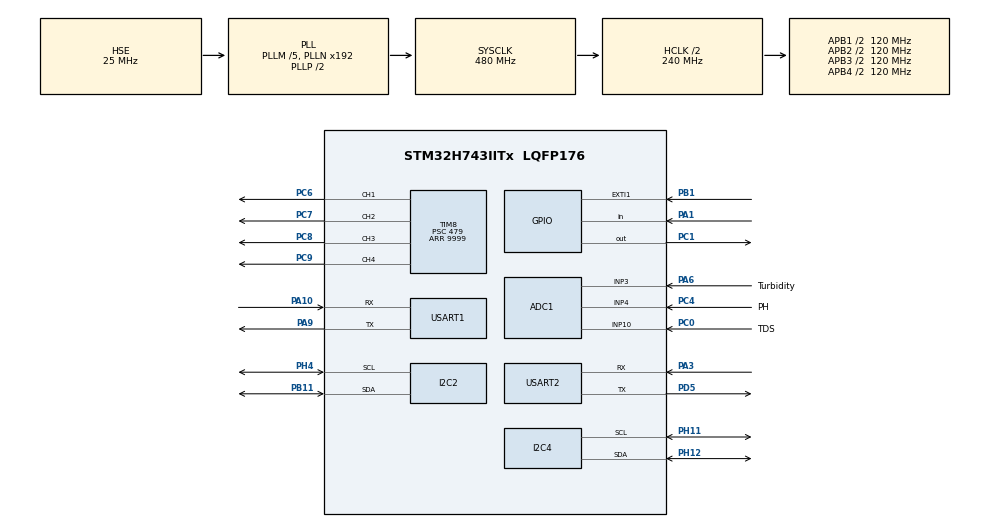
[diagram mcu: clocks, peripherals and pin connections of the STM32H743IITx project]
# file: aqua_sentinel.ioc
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ADC1.Channel-4\#ChannelRegularConversion=ADC_CHANNEL_3
ADC1.Channel-5\#ChannelRegularConversion=ADC_CHANNEL_4
ADC1.Channel-6\#ChannelRegularConversion=ADC_CHANNEL_10
ADC1.ContinuousConvMode=ENABLE
ADC1.ConversionDataManagement=ADC_CONVERSIONDATA_DMA_CIRCULAR
ADC1.NbrOfConversion=3
ADC1.NbrOfConversionFlag=1
ADC1.OffsetNumber-4\#ChannelRegularConversion=ADC_OFFSET_NONE
ADC1.OffsetNumber-5\#ChannelRegularConversion=ADC_OFFSET_NONE
ADC1.OffsetNumber-6\#ChannelRegularConversion=ADC_OFFSET_NONE
ADC1.OffsetSignedSaturation-4\#ChannelRegularConversion=DISABLE
ADC1.OffsetSignedSaturation-5\#ChannelRegularConversion=DISABLE
ADC1.OffsetSignedSaturation-6\#ChannelRegularConversion=DISABLE
ADC1.Rank-4\#ChannelRegularConversion=1
ADC1.Rank-5\#ChannelRegularConversion=2
ADC1.Rank-6\#ChannelRegularConversion=3
ADC1.SamplingTime-4\#ChannelRegularConversion=ADC_SAMPLETIME_810CYCLES_5
ADC1.SamplingTime-5\#ChannelRegularConversion=ADC_SAMPLETIME_810CYCLES_5
ADC1.SamplingTime-6\#ChannelRegularConversion=ADC_SAMPLETIME_810CYCLES_5
ADC1.master=1
CORTEX_M7.default_mode_Activation=1
Dma.ADC1.0.Direction=DMA_PERIPH_TO_MEMORY
Dma.ADC1.0.EventEnable=DISABLE
Dma.ADC1.0.FIFOMode=DMA_FIFOMODE_DISABLE
Dma.ADC1.0.Instance=DMA1_Stream0
Dma.ADC1.0.MemDataAlignment=DMA_MDATAALIGN_HALFWORD
Dma.ADC1.0.MemInc=DMA_MINC_ENABLE
Dma.ADC1.0.Mode=DMA_CIRCULAR
Dma.ADC1.0.PeriphDataAlignment=DMA_PDATAALIGN_HALFWORD
Dma.ADC1.0.PeriphInc=DMA_PINC_DISABLE
Dma.ADC1.0.Polarity=HAL_DMAMUX_REQ_GEN_RISING
Dma.ADC1.0.Priority=DMA_PRIORITY_LOW
Dma.ADC1.0.RequestNumber=1
Dma.ADC1.0.SignalID=NONE
Dma.ADC1.0.SyncEnable=DISABLE
Dma.ADC1.0.SyncPolarity=HAL_DMAMUX_SYNC_NO_EVENT
Dma.ADC1.0.SyncRequestNumber=1
Dma.ADC1.0.SyncSignalID=NONE
Dma.Request0=ADC1
FREERTOS.Mutexes01=mutex_printf,Dynamic,NULL,Available
FREERTOS.Tasks01=MQTT,24,1024,Start_MQTT,Default,NULL,Dynamic,NULL,NULL;ReadSensorData,8,1024,TaskReadSensorData,Default,NULL,Dynamic,NULL,NULL
FREERTOS.configTOTAL_HEAP_SIZE=131072
I2C2.Timing=0x307075B1
I2C4.Timing=0x307075B1
Mcu.Family=STM32H7
Mcu.Name=STM32H743IITx
Mcu.Package=LQFP176
NVIC.DMA1_Stream0_IRQn=true\:5\:0\:false\:false\:true\:true\:false\:true\:true
NVIC.PriorityGroup=NVIC_PRIORITYGROUP_4
NVIC.TIM7_IRQn=true\:15\:0\:false\:false\:true\:false\:false\:true\:true
NVIC.TimeBase=TIM7_IRQn
NVIC.TimeBaseIP=TIM7
NVIC.USART2_IRQn=true\:5\:0\:false\:false\:true\:true\:true\:true\:true
PA1.Signal=GPIO_Input
PA10.Mode=Asynchronous
PA10.Signal=USART1_RX
PA13\ (JTMS/SWDIO).Mode=Serial_Wire
PA13\ (JTMS/SWDIO).Signal=DEBUG_JTMS-SWDIO
PA14\ (JTCK/SWCLK).Mode=Serial_Wire
PA14\ (JTCK/SWCLK).Signal=DEBUG_JTCK-SWCLK
PA3.Mode=Asynchronous
PA3.Signal=USART2_RX
PA6.GPIO_Label=Turbidity
PA6.Signal=ADCx_INP3
PA9.Mode=Asynchronous
PA9.Signal=USART1_TX
PB1.Signal=GPXTI1
PB11.Mode=I2C
PB11.Signal=I2C2_SDA
PB2.Signal=QUADSPI_CLK
PB6.Signal=QUADSPI_BK1_NCS
PC0.GPIO_Label=TDS
PC0.Signal=ADCx_INP10
PC1.Signal=GPIO_Output
PC14-OSC32_IN\ (OSC32_IN).Mode=LSE-External-Oscillator
PC14-OSC32_IN\ (OSC32_IN).Signal=RCC_OSC32_IN
PC15-OSC32_OUT\ (OSC32_OUT).Mode=LSE-External-Oscillator
PC15-OSC32_OUT\ (OSC32_OUT).Signal=RCC_OSC32_OUT
PC4.GPIO_Label=PH
PC4.Signal=ADCx_INP4
PC6.Signal=S_TIM8_CH1
PC7.Signal=S_TIM8_CH2
PC8.Signal=S_TIM8_CH3
PC9.Signal=S_TIM8_CH4
PD0.Signal=FMC_D2_DA2
PD1.Signal=FMC_D3_DA3
PD10.Signal=FMC_D15_DA15
PD11.Signal=QUADSPI_BK1_IO0
PD12.Signal=QUADSPI_BK1_IO1
PD13.Signal=QUADSPI_BK1_IO3
PD14.Signal=FMC_D0_DA0
PD15.Signal=FMC_D1_DA1
PD5.Mode=Asynchronous
PD5.Signal=USART2_TX
PD6.GPIO_Speed=GPIO_SPEED_FREQ_VERY_HIGH
PD6.Signal=LTDC_B2
PD8.Signal=FMC_D13_DA13
PD9.Signal=FMC_D14_DA14
PE0.Signal=FMC_NBL0
PE1.Signal=FMC_NBL1
PE10.Signal=FMC_D7_DA7
PE11.Signal=FMC_D8_DA8
PE12.Signal=FMC_D9_DA9
PE13.Signal=FMC_D10_DA10
PE14.Signal=FMC_D11_DA11
PE15.Signal=FMC_D12_DA12
PE2.Signal=QUADSPI_BK1_IO2
PE7.Signal=FMC_D4_DA4
PE8.Signal=FMC_D5_DA5
PE9.Signal=FMC_D6_DA6
PF0.Signal=FMC_A0
PF1.Signal=FMC_A1
PF11.Signal=FMC_SDNRAS
PF12.Signal=FMC_A6
PF13.Signal=FMC_A7
PF14.Signal=FMC_A8
PF15.Signal=FMC_A9
PF2.Signal=FMC_A2
PF3.Signal=FMC_A3
PF4.Signal=FMC_A4
PF5.Signal=FMC_A5
PG0.Signal=FMC_A10
PG1.Signal=FMC_A11
PG14.GPIO_Speed=GPIO_SPEED_FREQ_VERY_HIGH
PG14.Signal=LTDC_B0
PG15.Signal=FMC_SDNCAS
PG2.Signal=FMC_A12
PG4.Signal=FMC_A14_BA0
PG5.Signal=FMC_A15_BA1
PG8.Signal=FMC_SDCLK
PH0-OSC_IN\ (PH0).Mode=HSE-External-Oscillator
PH0-OSC_IN\ (PH0).Signal=RCC_OSC_IN
PH1-OSC_OUT\ (PH1).Mode=HSE-External-Oscillator
PH1-OSC_OUT\ (PH1).Signal=RCC_OSC_OUT
PH10.GPIO_Speed=GPIO_SPEED_FREQ_VERY_HIGH
PH10.Signal=LTDC_R4
PH11.Mode=I2C
PH11.Signal=I2C4_SCL
PH12.Mode=I2C
PH12.Signal=I2C4_SDA
PH15.GPIO_Speed=GPIO_SPEED_FREQ_VERY_HIGH
PH15.Signal=LTDC_G4
PH2.Signal=FMC_SDCKE0
PH3.Signal=FMC_SDNE0
PH4.Mode=I2C
PH4.Signal=I2C2_SCL
PH5.Signal=FMC_SDNWE
PI0.GPIO_Speed=GPIO_SPEED_FREQ_VERY_HIGH
PI0.Signal=LTDC_G5
PI1.GPIO_Speed=GPIO_SPEED_FREQ_VERY_HIGH
PI1.Signal=LTDC_G6
PI5.GPIO_Speed=GPIO_SPEED_FREQ_VERY_HIGH
PI5.Signal=LTDC_B5
ProjectManager.HeapSize=0x2000
ProjectManager.StackSize=0x4000
ProjectManager.TargetToolchain=CMake
RCC.ADCFreq_Value=75000000
RCC.APB1Freq_Value=120000000
RCC.APB2Freq_Value=120000000
RCC.APB3Freq_Value=120000000
RCC.APB4Freq_Value=120000000
RCC.CortexFreq_Value=480000000
RCC.D1PPRE=RCC_APB3_DIV2
RCC.D2PPRE1=RCC_APB1_DIV2
RCC.D2PPRE2=RCC_APB2_DIV2
RCC.D3PPRE=RCC_APB4_DIV2
RCC.DIVM1=5
RCC.DIVM2=2
RCC.DIVM3=25
RCC.DIVN1=192
RCC.DIVN2=12
RCC.DIVN3=330
RCC.DIVQ1=4
RCC.DIVR3=10
RCC.HCLKFreq_Value=240000000
RCC.HPRE=RCC_HCLK_DIV2
RCC.PLL2FRACN=0
RCC.PLL3FRACN=0
RCC.PLLFRACN=0
RCC.PLLSourceVirtual=RCC_PLLSOURCE_HSE
RCC.RTCClockSelection=RCC_RTCCLKSOURCE_LSE
RCC.SYSCLKFreq_VALUE=480000000
RCC.SYSCLKSource=RCC_SYSCLKSOURCE_PLLCLK
RCC.USBFreq_Value=240000000
SH.ADCx_INP10.0=ADC1_INP10,IN10-Single-Ended
SH.ADCx_INP3.0=ADC1_INP3,IN3-Single-Ended
SH.ADCx_INP4.0=ADC1_INP4,IN4-Single-Ended
SH.FMC_A0.0=FMC_A0
SH.FMC_A1.0=FMC_A1
SH.FMC_A10.0=FMC_A10
SH.FMC_A11.0=FMC_A11
SH.FMC_A12.0=FMC_A12
SH.FMC_A14_BA0.0=FMC_BA0
SH.FMC_A15_BA1.0=FMC_BA1
SH.FMC_A2.0=FMC_A2
SH.FMC_A3.0=FMC_A3
SH.FMC_A4.0=FMC_A4
SH.FMC_A5.0=FMC_A5
SH.FMC_A6.0=FMC_A6
SH.FMC_A7.0=FMC_A7
SH.FMC_A8.0=FMC_A8
SH.FMC_A9.0=FMC_A9
SH.FMC_D0_DA0.0=FMC_D0
SH.FMC_D10_DA10.0=FMC_D10
SH.FMC_D11_DA11.0=FMC_D11
SH.FMC_D12_DA12.0=FMC_D12
SH.FMC_D13_DA13.0=FMC_D13
SH.FMC_D14_DA14.0=FMC_D14
SH.FMC_D15_DA15.0=FMC_D15
SH.FMC_D1_DA1.0=FMC_D1
SH.FMC_D2_DA2.0=FMC_D2
SH.FMC_D3_DA3.0=FMC_D3
SH.FMC_D4_DA4.0=FMC_D4
SH.FMC_D5_DA5.0=FMC_D5
SH.FMC_D6_DA6.0=FMC_D6
SH.FMC_D7_DA7.0=FMC_D7
SH.FMC_D8_DA8.0=FMC_D8
SH.FMC_D9_DA9.0=FMC_D9
SH.FMC_NBL0.0=FMC_NBL0
SH.FMC_NBL1.0=FMC_NBL1
SH.FMC_SDCLK.0=FMC_SDCLK
SH.FMC_SDNCAS.0=FMC_SDNCAS
SH.FMC_SDNRAS.0=FMC_SDNRAS
SH.FMC_SDNWE.0=FMC_SDNWE
SH.S_TIM8_CH1.0=TIM8_CH1,PWM Generation1 CH1
SH.S_TIM8_CH2.0=TIM8_CH2,PWM Generation2 CH2
SH.S_TIM8_CH3.0=TIM8_CH3,PWM Generation3 CH3
SH.S_TIM8_CH4.0=TIM8_CH4,PWM Generation4 CH4
TIM6.AutoReloadPreload=TIM_AUTORELOAD_PRELOAD_ENABLE
TIM6.Prescaler=239
TIM8.Channel-PWM\ Generation1\ CH1=TIM_CHANNEL_1
TIM8.Channel-PWM\ Generation2\ CH2=TIM_CHANNEL_2
TIM8.Channel-PWM\ Generation3\ CH3=TIM_CHANNEL_3
TIM8.Channel-PWM\ Generation4\ CH4=TIM_CHANNEL_4
TIM8.Period=9999
TIM8.Prescaler=479
USART1.VirtualMode-Asynchronous=VM_ASYNC
USART2.VirtualMode-Asynchronous=VM_ASYNC
VP_FREERTOS_VS_CMSIS_V2.Mode=CMSIS_V2
VP_MEMORYMAP_VS_MEMORYMAP.Mode=CurAppReg
VP_RTC_VS_RTC_Activate.Mode=RTC_Enabled
VP_SYS_VS_tim7.Mode=TIM7
VP_TIM6_VS_ClockSourceINT.Mode=Enable_Timer
board=custom

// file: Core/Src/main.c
/* USER CODE BEGIN Header */
/**
 ******************************************************************************
 * @file           : main.c
 * @brief          : Main program body
 ******************************************************************************
 * @attention
 *
 * Copyright (c) 2026 STMicroelectronics.
 * All rights reserved.
 *
 * This software is licensed under terms that can be found in the LICENSE file
 * in the root directory of this software component.
 * If no LICENSE file comes with this software, it is provided AS-IS.
 *
 ******************************************************************************
 */
/* USER CODE END Header */
#include "main.h"
#include "cmsis_os.h"
#include "adc.h"
#include "dma.h"
#include "i2c.h"
#include "memorymap.h"
#include "rtc.h"
#include "tim.h"
#include "usart.h"
#include "gpio.h"

/* USER CODE BEGIN Includes */
#include "AT_MQTT_OS.h"
#include "re_printf.h"
#include <string.h>

#include "device_ctrl.h"
#include "sdram.h"
#include "qspi_w25q64.h"
#include "touch_800x480.h"
/* USER CODE END Includes */

void SystemClock_Config(void);
static void MPU_Config(void);
static void CPU_CACHE_Enable(void);
void MX_FREERTOS_Init(void);
/* USER CODE BEGIN PFP */
void HAL_UART_RxCpltCallback(UART_HandleTypeDef *huart);
/* USER CODE END PFP */

/* USER CODE BEGIN 0 */

void HAL_UART_RxCpltCallback(UART_HandleTypeDef *huart) {
  if (huart->Instance == USART2) {
    MQTT_HandleUARTInterrupt();
  }
}

/**
 * @brief UART 错误回调 —— 关键修复：ORE等错误后必须重新开启IT接收，否则MCU变聋
 */
extern char RecvCh;
void HAL_UART_ErrorCallback(UART_HandleTypeDef *huart) {
  if (huart->Instance == USART2) {
    /* 清除所有错误标志 */
    __HAL_UART_CLEAR_OREFLAG(huart);
    __HAL_UART_CLEAR_NEFLAG(huart);
    __HAL_UART_CLEAR_FEFLAG(huart);
    __HAL_UART_CLEAR_PEFLAG(huart);
    /* 确保UART状态复位，然后重新开启单字节中断接收 */
    HAL_UART_AbortReceive(huart);
    HAL_UART_Receive_IT(huart, (uint8_t *)&RecvCh, 1);
  }
}

/* USER CODE END 0 */

int main(void)
{

  /* MPU Configuration--------------------------------------------------------*/
  MPU_Config();
  CPU_CACHE_Enable();

  /* MCU Configuration--------------------------------------------------------*/

  /* Reset of all peripherals, Initializes the Flash interface and the Systick. */
  HAL_Init();

  /* Configure the system clock */
  SystemClock_Config();

  /* Initialize all configured peripherals */
  MX_GPIO_Init();
  MX_DMA_Init();
  MX_TIM6_Init();
  MX_USART1_UART_Init();
  MX_USART2_UART_Init();
  MX_ADC1_Init();
  MX_I2C2_Init();
  MX_TIM8_Init();
  MX_I2C4_Init();
  MX_RTC_Init();
  /* USER CODE BEGIN 2 */
  /* 立即启动 TIM8 所有 PWM 通道 (占空比=0, 即输出 LOW),
   * 防止引脚在 FreeRTOS 任务初始化设备之前浮空导致 TB6612FNG 误动作 */
  //HAL_TIM_PWM_Start(&htim8, TIM_CHANNEL_1);
  //HAL_TIM_PWM_Start(&htim8, TIM_CHANNEL_2);
  //HAL_TIM_PWM_Start(&htim8, TIM_CHANNEL_3);
  //HAL_TIM_PWM_Start(&htim8, TIM_CHANNEL_4);

  RetargetInit(&huart1);
  printf("Hello demo clouddata app\r\n");

  MX_FMC_Init();
  printf("SDRAM Init Done\r\n");

  if( QSPI_W25Qxx_Init() == QSPI_W25Qxx_OK ) {
    printf("W25Q64 QSPI Flash Init OK\r\n");
  } else {
    printf("W25Q64 QSPI Flash Init FAILED!\r\n");
  }

  if (Touch_Init() != SUCCESS)
  {
    printf("Touch Init Failed!\r\n");
  }
  /* USER CODE END 2 */

  /* Init scheduler */
  osKernelInitialize();

  /* Call init function for freertos objects (in cmsis_os2.c) */
  MX_FREERTOS_Init();

  /* Start scheduler */
  osKernelStart();

  /* We should never get here as control is now taken by the scheduler */

  /* Infinite loop */
  while (1) {

  }
}

void SystemClock_Config(void)
{
  RCC_OscInitTypeDef RCC_OscInitStruct = {0};
  RCC_ClkInitTypeDef RCC_ClkInitStruct = {0};
  RCC_PeriphCLKInitTypeDef PeriphClkInitStruct = {0};

  /** Supply configuration update enable
  */
  HAL_PWREx_ConfigSupply(PWR_LDO_SUPPLY);

  /** Configure the main internal regulator output voltage
  */
  __HAL_PWR_VOLTAGESCALING_CONFIG(PWR_REGULATOR_VOLTAGE_SCALE0);

  while(!__HAL_PWR_GET_FLAG(PWR_FLAG_VOSRDY)) {}

  /** Configure LSE Drive Capability
  */
  HAL_PWR_EnableBkUpAccess();
  __HAL_RCC_LSEDRIVE_CONFIG(RCC_LSEDRIVE_LOW);

  /** Initializes the RCC Oscillators according to the specified parameters
  * in the RCC_OscInitTypeDef structure.
  */
  RCC_OscInitStruct.OscillatorType = RCC_OSCILLATORTYPE_HSE|RCC_OSCILLATORTYPE_LSE;
  RCC_OscInitStruct.HSEState = RCC_HSE_ON;
  RCC_OscInitStruct.LSEState = RCC_LSE_ON;
  RCC_OscInitStruct.PLL.PLLState = RCC_PLL_ON;
  RCC_OscInitStruct.PLL.PLLSource = RCC_PLLSOURCE_HSE;
  RCC_OscInitStruct.PLL.PLLM = 5;
  RCC_OscInitStruct.PLL.PLLN = 192;
  RCC_OscInitStruct.PLL.PLLP = 2;
  RCC_OscInitStruct.PLL.PLLQ = 4;
  RCC_OscInitStruct.PLL.PLLR = 2;
  RCC_OscInitStruct.PLL.PLLRGE = RCC_PLL1VCIRANGE_2;
  RCC_OscInitStruct.PLL.PLLVCOSEL = RCC_PLL1VCOWIDE;
  RCC_OscInitStruct.PLL.PLLFRACN = 0;
  if (HAL_RCC_OscConfig(&RCC_OscInitStruct) != HAL_OK)
  {
    Error_Handler();
  }

  /** Initializes the CPU, AHB and APB buses clocks
  */
  RCC_ClkInitStruct.ClockType = RCC_CLOCKTYPE_HCLK|RCC_CLOCKTYPE_SYSCLK
                              |RCC_CLOCKTYPE_PCLK1|RCC_CLOCKTYPE_PCLK2
                              |RCC_CLOCKTYPE_D3PCLK1|RCC_CLOCKTYPE_D1PCLK1;
  RCC_ClkInitStruct.SYSCLKSource = RCC_SYSCLKSOURCE_PLLCLK;
  RCC_ClkInitStruct.SYSCLKDivider = RCC_SYSCLK_DIV1;
  RCC_ClkInitStruct.AHBCLKDivider = RCC_HCLK_DIV2;
  RCC_ClkInitStruct.APB3CLKDivider = RCC_APB3_DIV2;
  RCC_ClkInitStruct.APB1CLKDivider = RCC_APB1_DIV2;
  RCC_ClkInitStruct.APB2CLKDivider = RCC_APB2_DIV2;
  RCC_ClkInitStruct.APB4CLKDivider = RCC_APB4_DIV2;

  if (HAL_RCC_ClockConfig(&RCC_ClkInitStruct, FLASH_LATENCY_4) != HAL_OK)
  {
    Error_Handler();
  }

  PeriphClkInitStruct.PeriphClockSelection = RCC_PERIPHCLK_FMC | RCC_PERIPHCLK_QSPI |
                                             RCC_PERIPHCLK_LTDC;
  PeriphClkInitStruct.FmcClockSelection = RCC_FMCCLKSOURCE_D1HCLK;
  PeriphClkInitStruct.QspiClockSelection = RCC_QSPICLKSOURCE_D1HCLK;
  PeriphClkInitStruct.PLL3.PLL3M = 25;
  PeriphClkInitStruct.PLL3.PLL3N = 330;
  PeriphClkInitStruct.PLL3.PLL3P = 2;
  PeriphClkInitStruct.PLL3.PLL3Q = 2;
  PeriphClkInitStruct.PLL3.PLL3R = 10;
  PeriphClkInitStruct.PLL3.PLL3RGE = RCC_PLL3VCIRANGE_0;
  PeriphClkInitStruct.PLL3.PLL3VCOSEL = RCC_PLL3VCOWIDE;
  PeriphClkInitStruct.PLL3.PLL3FRACN = 0;
  if (HAL_RCCEx_PeriphCLKConfig(&PeriphClkInitStruct) != HAL_OK)
  {
    Error_Handler();
  }
}

 /* MPU Configuration */

void MPU_Config(void)
{
  MPU_Region_InitTypeDef MPU_InitStruct = {0};

  /* Disables the MPU */
  HAL_MPU_Disable();

  /** Initializes and configures the Region and the memory to be protected
  */
  MPU_InitStruct.Enable = MPU_REGION_ENABLE;
  MPU_InitStruct.Number = MPU_REGION_NUMBER0;
  MPU_InitStruct.BaseAddress = 0x0;
  MPU_InitStruct.Size = MPU_REGION_SIZE_4GB;
  MPU_InitStruct.SubRegionDisable = 0x87;
  MPU_InitStruct.TypeExtField = MPU_TEX_LEVEL0;
  MPU_InitStruct.AccessPermission = MPU_REGION_NO_ACCESS;
  MPU_InitStruct.DisableExec = MPU_INSTRUCTION_ACCESS_DISABLE;
  MPU_InitStruct.IsShareable = MPU_ACCESS_SHAREABLE;
  MPU_InitStruct.IsCacheable = MPU_ACCESS_NOT_CACHEABLE;
  MPU_InitStruct.IsBufferable = MPU_ACCESS_NOT_BUFFERABLE;

  HAL_MPU_ConfigRegion(&MPU_InitStruct);

  /* Allow QSPI memory-mapped flash access for Chinese font data. */
  MPU_InitStruct.Enable = MPU_REGION_ENABLE;
  MPU_InitStruct.Number = MPU_REGION_NUMBER1;
  MPU_InitStruct.BaseAddress = W25Qxx_Mem_Addr;
  MPU_InitStruct.Size = MPU_REGION_SIZE_8MB;
  MPU_InitStruct.SubRegionDisable = 0x00;
  MPU_InitStruct.TypeExtField = MPU_TEX_LEVEL0;
  MPU_InitStruct.AccessPermission = MPU_REGION_FULL_ACCESS;
  MPU_InitStruct.DisableExec = MPU_INSTRUCTION_ACCESS_DISABLE;
  MPU_InitStruct.IsShareable = MPU_ACCESS_NOT_SHAREABLE;
  MPU_InitStruct.IsCacheable = MPU_ACCESS_NOT_CACHEABLE;
  MPU_InitStruct.IsBufferable = MPU_ACCESS_NOT_BUFFERABLE;
  HAL_MPU_ConfigRegion(&MPU_InitStruct);

  /* Allow SDRAM framebuffer access for LTDC and CPU drawing. */
  MPU_InitStruct.Enable = MPU_REGION_ENABLE;
  MPU_InitStruct.Number = MPU_REGION_NUMBER2;
  MPU_InitStruct.BaseAddress = SDRAM_BANK_ADDR;
  MPU_InitStruct.Size = MPU_REGION_SIZE_32MB;
  MPU_InitStruct.SubRegionDisable = 0x00;
  MPU_InitStruct.TypeExtField = MPU_TEX_LEVEL0;
  MPU_InitStruct.AccessPermission = MPU_REGION_FULL_ACCESS;
  MPU_InitStruct.DisableExec = MPU_INSTRUCTION_ACCESS_DISABLE;
  MPU_InitStruct.IsShareable = MPU_ACCESS_SHAREABLE;
  MPU_InitStruct.IsCacheable = MPU_ACCESS_NOT_CACHEABLE;
  MPU_InitStruct.IsBufferable = MPU_ACCESS_NOT_BUFFERABLE;
  HAL_MPU_ConfigRegion(&MPU_InitStruct);

  /*
   * Keep framebuffers uncached for LTDC safety, but allow the LVGL heap window
   * in SDRAM to be cached. This significantly reduces the cost of object/style
   * access and layer allocations during page transitions.
   */
  MPU_InitStruct.Enable = MPU_REGION_ENABLE;
  MPU_InitStruct.Number = MPU_REGION_NUMBER3;
  MPU_InitStruct.BaseAddress = 0xC0400000U;
  MPU_InitStruct.Size = MPU_REGION_SIZE_4MB;
  MPU_InitStruct.SubRegionDisable = 0x00;
  MPU_InitStruct.TypeExtField = MPU_TEX_LEVEL0;
  MPU_InitStruct.AccessPermission = MPU_REGION_FULL_ACCESS;
  MPU_InitStruct.DisableExec = MPU_INSTRUCTION_ACCESS_DISABLE;
  MPU_InitStruct.IsShareable = MPU_ACCESS_NOT_SHAREABLE;
  MPU_InitStruct.IsCacheable = MPU_ACCESS_CACHEABLE;
  MPU_InitStruct.IsBufferable = MPU_ACCESS_NOT_BUFFERABLE;
  HAL_MPU_ConfigRegion(&MPU_InitStruct);

  MPU_InitStruct.Enable = MPU_REGION_ENABLE;
  MPU_InitStruct.Number = MPU_REGION_NUMBER4;
  MPU_InitStruct.BaseAddress = 0xC0800000U;
  MPU_InitStruct.Size = MPU_REGION_SIZE_4MB;
  MPU_InitStruct.SubRegionDisable = 0x00;
  MPU_InitStruct.TypeExtField = MPU_TEX_LEVEL0;
  MPU_InitStruct.AccessPermission = MPU_REGION_FULL_ACCESS;
  MPU_InitStruct.DisableExec = MPU_INSTRUCTION_ACCESS_DISABLE;
  MPU_InitStruct.IsShareable = MPU_ACCESS_NOT_SHAREABLE;
  MPU_InitStruct.IsCacheable = MPU_ACCESS_CACHEABLE;
  MPU_InitStruct.IsBufferable = MPU_ACCESS_NOT_BUFFERABLE;
  HAL_MPU_ConfigRegion(&MPU_InitStruct);

  /* Enables the MPU */
  HAL_MPU_Enable(MPU_PRIVILEGED_DEFAULT);

}

static void CPU_CACHE_Enable(void)
{
  SCB_EnableICache();
  SCB_EnableDCache();
}

void HAL_TIM_PeriodElapsedCallback(TIM_HandleTypeDef *htim)
{
  if (htim->Instance == TIM7)
  {
    HAL_IncTick();
  }
}

void Error_Handler(void)
{
  __disable_irq();
  while (1) {
  }
}

#ifdef  USE_FULL_ASSERT
/**
  * @brief  Reports the name of the source file and the source line number
  *         where the assert_param error has occurred.
  * @param  file: pointer to the source file name
  * @param  line: assert_param error line source number
  * @retval None
  */
void assert_failed(uint8_t *file, uint32_t line)
{
  /* USER CODE BEGIN 6 */
  /* User can add his own implementation to report the file name and line
     number, ex: printf("Wrong parameters value: file %s on line %d\r\n", file,
     line) */
  /* USER CODE END 6 */
}
#endif /* USE_FULL_ASSERT */

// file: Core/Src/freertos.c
/* USER CODE BEGIN Header */
/**
 ******************************************************************************
 * File Name          : freertos.c
 * Description        : Code for freertos applications
 ******************************************************************************
 * @attention
 *
 * Copyright (c) 2026 STMicroelectronics.
 * All rights reserved.
 *
 * This software is licensed under terms that can be found in the LICENSE file
 * in the root directory of this software component.
 * If no LICENSE file comes with this software, it is provided AS-IS.
 *
 ******************************************************************************
 */
/* USER CODE END Header */

#include "FreeRTOS.h"
#include "device_ctrl.h"
#include "task.h"
#include "main.h"
#include "cmsis_os.h"

/* USER CODE BEGIN Includes */

/* C 标准库 */
#include <math.h>
#include <stdlib.h>
#include <stdio.h>
#include <string.h>

/* FreeRTOS */
#include "queue.h"

/* BSP & 外设驱动 */
#include "adc.h"
#include "i2c.h"
#include "tim.h"
#include "rtc.h"
#include "lcd_pwm.h"
#include "lcd_rgb.h"
#include "lcd_test.h"
#include "touch_800x480.h"
#include "re_printf.h"
#include "AT24C256.h"

/* 传感器 */
#include "ds18b20.h"
#include "bmp280function.h"
#include "turbidity.h"
#include "tds.h"
#include "ph_sensor.h"
#include "waterlevel.h"

/* MQTT & 云端 */
#include "AT_MQTT_OS.h"
#include "cJSON.h"

/* 应用层 */
#include "app_runtime.h"
#include "task_mqtt.h"
#include "task_sensor.h"
#include "auto_fish_ctrl.h"
#include "aquarium_light.h"
#include "device_ctrl.h"

/* LVGL 图形库 */
#include "lvgl.h"
#include "lv_port_disp.h"
#include "lv_port_indev.h"
#include "lv_ui.h"
#include "benchmark/lv_demo_benchmark.h"

/* USER CODE END Includes */

/* USER CODE BEGIN PD */
/** @brief  仅 LCD 调试模式：置 1 则跳过 MQTT 任务创建 */
#define APP_LCD_DEBUG_ONLY  0
#define APP_LCD_FONT_USE_MMAP 0

/**
 * LVGL 任务延时策略
 * ─────────────────
 * 根据 lv_timer_handler() 返回的「下次建议唤醒时间」动态睡眠，
 * 并限制上下界以兼顾触摸响应和 CPU 占用率。
 */
#define LVGL_TASK_MIN_DELAY_MS  1U
#define LVGL_TASK_MAX_DELAY_MS                                             \
  ((LV_INDEV_DEF_READ_PERIOD < LV_DISP_DEF_REFR_PERIOD)                    \
       ? (uint32_t)LV_INDEV_DEF_READ_PERIOD                                \
       : (uint32_t)LV_DISP_DEF_REFR_PERIOD)
/* USER CODE END PD */

/* USER CODE BEGIN Variables */

/*
 * ADC DMA 缓冲区
 * ─────────────────────────────────────────────────────────────────────────
 * DMA1 工作在 D2 域，缓冲区必须放入 D2 SRAM (0x30000000) 才能正常搬运数据。
 * turbidity.c / tds.c / ph_sensor.c 通过 extern 访问此缓冲区。
 */
uint16_t adc_dma_buffer[ADC_TOTAL_BUF_SIZE]
    __attribute__((section(".RAM_D2"), aligned(32)));

/*
 * 全局传感器变量 —— 用于任务间通信
 * ─────────────────────────────────────────────────────────────────────────
 * Cortex-M7 对 float/short 的单次读写是原子的，因此多任务直接访问全局变量
 * 足以满足本系统的实时性要求（非严格精确场景）。
 */
float g_Turbidity_NTU      = 0.0f;   /**< 浊度值 (NTU) */
float g_Turbidity_Voltage  = 0.0f;   /**< 浊度传感器电压 (V) */
float g_TDS_Value          = 0.0f;   /**< TDS 值 (ppm) */
float g_PH_Value           = 0.0f;   /**< PH 值 */
short g_Temperature        = 0;      /**< DS18B20 水温 (×10, 单位 0.1°C) */
float cloud_Temperature    = 0.0f;   /**< 上报云端的水温 (°C) */

/* BMP280 气压/环境温度 */
float g_BMP280_Temperature = 0.0f;   /**< BMP280 环境温度 (°C) */
float g_BMP280_Pressure    = 0.0f;   /**< BMP280 气压 (Pa) */
BMP280ObjectType g_bmp280;           /**< BMP280 驱动对象实体 */

/* USER CODE END Variables */
/* Definitions for MQTT */
osThreadId_t MQTTHandle;
const osThreadAttr_t MQTT_attributes = {
  .name = "MQTT",
  .stack_size = 1024 * 4,
  .priority = (osPriority_t) osPriorityNormal,
};
/* Definitions for ReadSensorData */
osThreadId_t ReadSensorDataHandle;
const osThreadAttr_t ReadSensorData_attributes = {
  .name = "ReadSensorData",
  .stack_size = 1024 * 4,
  .priority = (osPriority_t) osPriorityLow,
};
/* Definitions for UiManager */
osThreadId_t UiManagerHandle;
const osThreadAttr_t UiManager_attributes = {
  .name = "UiManager",
  .stack_size = 1024 * 8,
  .priority = (osPriority_t) osPriorityAboveNormal,
};
/* Definitions for LvglHandler — dedicated LVGL refresh task */
osThreadId_t LvglHandlerHandle;
const osThreadAttr_t LvglHandler_attributes = {
  .name = "LvglHandler",
  .stack_size = 1024 * 4,
  .priority = (osPriority_t) osPriorityAboveNormal,
};
/* Definitions for AutoFishCtrl — 自动鱼缸控制任务 */
osThreadId_t AutoFishCtrlHandle;
const osThreadAttr_t AutoFishCtrl_attributes = {
  .name = "AutoFishCtrl",
  .stack_size = 1024 * 4,
  .priority = (osPriority_t) osPriorityNormal,
};
/* Definitions for mutex_printf */
osMutexId_t mutex_printfHandle;
const osMutexAttr_t mutex_printf_attributes = {
  .name = "mutex_printf"
};
/* Definitions for mutex_lvgl */
osMutexId_t mutex_lvglHandle;
const osMutexAttr_t mutex_lvgl_attributes = {
  .name = "mutex_lvgl",
  .attr_bits = osMutexRecursive | osMutexPrioInherit,
};

/* USER CODE BEGIN FunctionPrototypes */
/* ---------- LVGL 互斥锁封装 (递归锁 + 优先级继承) ---------- */

/**
 * @brief  尝试在指定超时内获取 LVGL 互斥锁
 * @param  timeout_ms  超时时间 (ms), 传 osWaitForever 则阻塞等待
 * @retval true=获取成功  false=超时或锁尚未创建
 */
bool app_lvgl_lock_timeout(uint32_t timeout_ms) {
  if (mutex_lvglHandle == NULL) {
    return false;
  }
  return osMutexAcquire(mutex_lvglHandle, timeout_ms) == osOK;
}

/** @brief  阻塞获取 LVGL 互斥锁 */
void app_lvgl_lock(void) { (void)app_lvgl_lock_timeout(osWaitForever); }

/** @brief  释放 LVGL 互斥锁 */
void app_lvgl_unlock(void) {
  if (mutex_lvglHandle != NULL) {
    (void)osMutexRelease(mutex_lvglHandle);
  }
}

/**
 * @brief  根据 lv_timer_handler() 返回值计算本轮延时
 * @param  handler_delay_ms  lv_timer_handler() 建议的下次唤醒间隔
 * @return 钳位到 [MIN, MAX] 范围后的延时值 (ms)
 */
static uint32_t app_lvgl_get_task_delay(uint32_t handler_delay_ms) {
  if (handler_delay_ms == LV_NO_TIMER_READY ||
      handler_delay_ms > LVGL_TASK_MAX_DELAY_MS) {
    return LVGL_TASK_MAX_DELAY_MS;
  }
  if (handler_delay_ms < LVGL_TASK_MIN_DELAY_MS) {
    return LVGL_TASK_MIN_DELAY_MS;
  }
  return handler_delay_ms;
}

/* USER CODE END FunctionPrototypes */

void TaskUiManager(void *argument);
void TaskLvglHandler(void *argument);
void TaskAutoFishCtrl(void *argument);

void MX_FREERTOS_Init(void); /* (MISRA C 2004 rule 8.1) */

/**
 * @brief  FreeRTOS 初始化
 *         创建所有互斥锁、消息队列、任务线程。
 */
void MX_FREERTOS_Init(void) {
  /* USER CODE BEGIN Init */
  FishCtrl_InitDefaultThresholds();
  /* USER CODE END Init */

  /* ---- 互斥锁 ---- */
  mutex_printfHandle = osMutexNew(&mutex_printf_attributes);
  mutex_lvglHandle   = osMutexNew(&mutex_lvgl_attributes);

  /* USER CODE BEGIN RTOS_MUTEX */
  configASSERT(mutex_printfHandle != NULL);
  configASSERT(mutex_lvglHandle != NULL);
  /* USER CODE END RTOS_MUTEX */

  /* ---- 任务创建 ---- */
  #if !APP_LCD_DEBUG_ONLY
  MQTTHandle = osThreadNew(Start_MQTT, NULL, &MQTT_attributes);
  #endif

  ReadSensorDataHandle  = osThreadNew(TaskReadSensorData, NULL, &ReadSensorData_attributes);

  /* USER CODE BEGIN RTOS_THREADS */
  UiManagerHandle   = osThreadNew(TaskUiManager,    NULL, &UiManager_attributes);
  LvglHandlerHandle = osThreadNew(TaskLvglHandler,  NULL, &LvglHandler_attributes);
  AutoFishCtrlHandle = osThreadNew(TaskAutoFishCtrl, NULL, &AutoFishCtrl_attributes);
  /* USER CODE END RTOS_THREADS */

}

/* USER CODE END Header_Start_MQTT */

/* USER CODE BEGIN Header_TaskReadSensorData */

/**
 * @brief  UI 管理任务
 *         负责初始化 LTDC、背光、LVGL 及水族箱 UI 组件；
 *         初始化完成后自删以释放 8 KB 栈空间。
 */
void TaskUiManager(void *argument)
{
  /* USER CODE BEGIN TaskUiManager */
  UNUSED(argument);

  #if APP_LCD_DEBUG_ONLY
  osPrintf("[APP] LCD debug mode enabled, MQTT task skipped.\r\n");
  #endif

  /* ——— 硬件初始化 (LTDC + 背光) ——— */
  MX_LTDC_Init();
  LCD_PWMinit(80);

  /* ——— LVGL 库 + 显示/输入驱动 ——— */
  app_lvgl_lock();
  lv_init();
  lv_port_disp_init();
  lv_port_indev_init();
  app_lvgl_unlock();
  osPrintf("LVGL display driver registered\r\n");

  /* ——— 创建水族箱 UI 界面 ——— */
  app_lvgl_lock();
  lv_ui_create();
  app_lvgl_unlock();
  osPrintf("LVGL aquarium UI created\r\n");

  /* 初始化完成，UI 刷新由 TaskLvglHandler 负责，本任务自删 */
  osThreadExit();
  /* USER CODE END TaskUiManager */
}

/**
 * @brief  Dedicated LVGL refresh task.
 *         Periodically calls lv_timer_handler() to drive rendering, animations
 *         and input processing. No other LVGL API should be called here.
 *
 *         LVGL tick is provided by LV_TICK_CUSTOM = HAL_GetTick(), so no
 *         lv_tick_inc() is needed.
 */
void TaskLvglHandler(void *argument)
{
  UNUSED(argument);
  uint32_t lvgl_delay_ms;

  /* Wait until LVGL is initialised by TaskUiManager */
  while (lv_disp_get_default() == NULL) {
    osDelay(5);
  }

  for (;;) {
    app_lvgl_lock();
    lvgl_delay_ms = app_lvgl_get_task_delay(lv_timer_handler());
    app_lvgl_unlock();

    osDelay(lvgl_delay_ms);
  }
}

/* USER CODE BEGIN Application */

/**
 * @brief  自动鱼缸控制任务
 *         根据传感器数据和阈值自动控制执行设备，并更新设备运行状态及屏幕报警标志。
 *         增氧泵：定时开关 + 低气压加速策略
 *         加热器/风扇：按水温上下限联动控制
 *         潜水泵：浊度控制
 *         LED：RTC 定时控制
 *         TDS/PH：仅报警，不控制设备
 */
void TaskAutoFishCtrl(void *argument)
{
  UNUSED(argument);

  osPrintf("[AutoCtrl] Thresholds ready.\r\n");

  FishCtrl_Thresholds_t th_local;
  const FishCtrl_Thresholds_t *th = &th_local;

  /* 增氧泵定时状态机 */
  uint8_t  aeration_running  = 0;
  uint32_t aeration_last_toggle = HAL_GetTick();
  uint8_t  prev_auto_enabled = g_auto_ctrl_enabled; // 用于检测自动→手动→自动切换

  /* 等待传感器任务先采集一轮数据 (约3秒) */
  osDelay(5000);

  /* 上电默认先开启增氧泵 */
  OxygenPump_Ctrl(1);
  aeration_running = 1;
  osPrintf("[AutoCtrl] Aeration pump ON (startup).\r\n");

  for (;;) {
    /* 每次循环刷新阈值快照，确保线程安全 */
    FishCtrl_CopyThresholds(&th_local);

    /* 检测自动控制从关→开的切换，重置增氧泵状态机 */
    if (g_auto_ctrl_enabled && !prev_auto_enabled) {
      aeration_running = 1;
      aeration_last_toggle = HAL_GetTick();
      OxygenPump_Ctrl(1);
      osPrintf("[AutoCtrl] Auto re-enabled, aeration state machine reset.\r\n");
    }
    prev_auto_enabled = g_auto_ctrl_enabled;

    /* ── 仅当自动控制开关打开时，才执行设备联动控制 ── */
    if (g_auto_ctrl_enabled) {

    /* ——————— 1. 水温联动控制 (风扇/加热互斥) ——————— */
    {
      float water_temp = (cloud_Temperature != 0.0f)
                             ? cloud_Temperature
                             : ((float)g_Temperature / 10.0f);
      float temp_lower_limit = th->temp_lower_limit;
      float temp_upper_limit = th->temp_upper_limit;

      if (temp_lower_limit > temp_upper_limit) {
        float temp_limit = temp_lower_limit;
        temp_lower_limit = temp_upper_limit;
        temp_upper_limit = temp_limit;
      }

      if (water_temp < temp_lower_limit) {
        if (g_fan_state == 1) {
          Fan_Ctrl(0);
          osPrintf("[AutoCtrl] Fan OFF (%.1f < %.1f)\r\n",
                   (double)water_temp,
                   (double)temp_lower_limit);
        }

        if (g_heater_state == 0) {
          Heater_Ctrl(1);
          osPrintf("[AutoCtrl] Heater ON (%.1f < %.1f)\r\n",
                   (double)water_temp,
                   (double)temp_lower_limit);
        }
      } else if (water_temp > temp_upper_limit) {
        if (g_heater_state == 1) {
          Heater_Ctrl(0);
          osPrintf("[AutoCtrl] Heater OFF (%.1f > %.1f)\r\n",
                   (double)water_temp,
                   (double)temp_upper_limit);
        }

        if (g_fan_state == 0) {
          Fan_Ctrl(1);
          osPrintf("[AutoCtrl] Fan ON (%.1f > %.1f)\r\n",
                   (double)water_temp,
                   (double)temp_upper_limit);
        }
      } else {
        if (g_heater_state == 1) {
          Heater_Ctrl(0);
          osPrintf("[AutoCtrl] Heater OFF (%.1f in %.1f-%.1f)\r\n",
                   (double)water_temp,
                   (double)temp_lower_limit,
                   (double)temp_upper_limit);
        }

        if (g_fan_state == 1) {
          Fan_Ctrl(0);
          osPrintf("[AutoCtrl] Fan OFF (%.1f in %.1f-%.1f)\r\n",
                   (double)water_temp,
                   (double)temp_lower_limit,
                   (double)temp_upper_limit);
        }
      }
    }

    /* ——————— 2. 潜水泵/过滤 控制 (浊度) ——————— */
    {
      float turb = g_Turbidity_NTU;

      if (turb > th->turbidity_on_thresh) {
        if (g_submersiblepump_state == 0) {
          SubmersiblePump_Ctrl(1);
          osPrintf("[AutoCtrl] Filter Pump ON (turb %.1f > %.1f)\r\n",
                   (double)turb, (double)th->turbidity_on_thresh);
        }
      } else if (turb < th->turbidity_off_thresh) {
        if (g_submersiblepump_state == 1) {
          SubmersiblePump_Ctrl(0);
          osPrintf("[AutoCtrl] Filter Pump OFF (turb %.1f < %.1f)\r\n",
                   (double)turb, (double)th->turbidity_off_thresh);
        }
      }
    }

    /* ——————— 3. 增氧泵控制 (定时 + 低气压加速) ——————— */
    {
      uint32_t now = HAL_GetTick();
      uint32_t elapsed = now - aeration_last_toggle;

      /* 计算当前关闭间隔：气压低时减半 */
      uint32_t current_off_ms = th->aeration_off_ms;
      if (g_BMP280_Pressure > 1000.0f &&
          g_BMP280_Pressure < th->pressure_low_thresh_pa) {
        current_off_ms = th->aeration_off_ms / 2;
      }

      if (aeration_running) {
        /* 正在运行，检查是否到了关闭时间 */
        if (elapsed >= th->aeration_on_ms) {
          OxygenPump_Ctrl(0);
          aeration_running = 0;
          aeration_last_toggle = now;
          osPrintf("[AutoCtrl] Aeration OFF (ran %lu ms)\r\n",
                   (unsigned long)elapsed);
        }
      } else {
        /* 已关闭，检查是否到了开启时间 */
        if (elapsed >= current_off_ms) {
          OxygenPump_Ctrl(1);
          aeration_running = 1;
          aeration_last_toggle = now;
          osPrintf("[AutoCtrl] Aeration ON (off %lu ms, thresh %lu ms)\r\n",
                   (unsigned long)elapsed, (unsigned long)current_off_ms);
        }
      }
    }

    /* ——————— 4. LED 照明控制 (RTC 定时) ——————— */
    {
      RTC_TimeTypeDef time_now = {0};
      RTC_DateTypeDef date_now = {0};

      if (HAL_RTC_GetTime(&hrtc, &time_now, RTC_FORMAT_BIN) == HAL_OK &&
          HAL_RTC_GetDate(&hrtc, &date_now, RTC_FORMAT_BIN) == HAL_OK) {
        uint8_t hour = time_now.Hours;
        uint8_t should_be_on;
        if (th->led_hour_on < th->led_hour_off) {
          /* 不跨午夜，如 08:00~20:00 */
          should_be_on = (hour >= th->led_hour_on && hour < th->led_hour_off) ? 1 : 0;
        } else if (th->led_hour_on > th->led_hour_off) {
          /* 跨午夜，如 20:00~08:00 */
          should_be_on = (hour >= th->led_hour_on || hour < th->led_hour_off) ? 1 : 0;
        } else {
          /* on == off 视为全天关灯 */
          should_be_on = 0;
        }

        if (should_be_on && g_led_state == 0) {
          aquarium_light_on();
          osPrintf("[AutoCtrl] LED ON (hour=%u)\r\n", hour);
        } else if (!should_be_on && g_led_state == 1) {
          aquarium_light_off();
          osPrintf("[AutoCtrl] LED OFF (hour=%u)\r\n", hour);
        }
      }
    }

    } /* end if (g_auto_ctrl_enabled) */

    /* ——————— 5. TDS / PH 报警 (仅设置标志，不控制设备) ——————— */
    {
      /* TDS 报警 */
      g_alarm_tds_high = (g_TDS_Value > th->tds_high_thresh) ? 1 : 0;

      /* PH 报警 (仅当 PH 有有效读数时判断) */
      if (g_PH_Value > 0.0f) {
        g_alarm_ph_high = (g_PH_Value > th->ph_high_thresh) ? 1 : 0;
        g_alarm_ph_low  = (g_PH_Value < th->ph_low_thresh)  ? 1 : 0;
      } else {
        g_alarm_ph_high = 0;
        g_alarm_ph_low  = 0;
      }
    }

    /* 控制周期: 每3秒执行一次 */
    osDelay(3000);
  }
}

/* USER CODE END Application */
